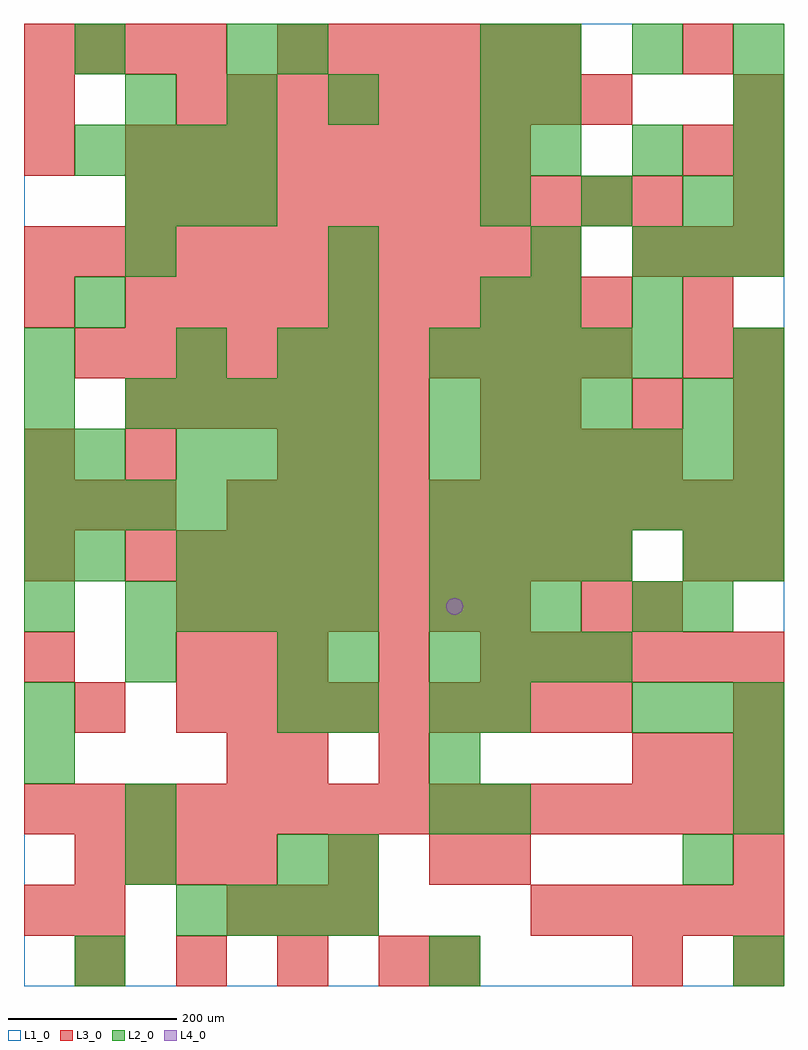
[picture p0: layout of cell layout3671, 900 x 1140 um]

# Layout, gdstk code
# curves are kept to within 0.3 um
import gdstk
lib = gdstk.Library(unit=1e-6, precision=1e-09)
def R(c, l, rs):  # rectangles x0, y0, x1, y1
    for r in rs: c.add(gdstk.rectangle(r[:2], r[2:], *l))
def A(c, l, x, y, w, h, nx, ny, dx, dy):  # array of equal rectangles
    R(c, l, [(x+i*dx, y+j*dy, x+i*dx+w, y+j*dy+h) for i in range(nx) for j in range(ny)])
def P(c, l, *ps):  # polygons
    for p in ps: c.add(gdstk.Polygon(p, *l))
L1_0 = (1, 0)
L2_0 = (2, 0)
L3_0 = (3, 0)
L4_0 = (4, 0)

layout3671 = lib.new_cell('layout3671')
R(layout3671, L1_0, [(0,0,900,1140)])
A(layout3671, L2_0, 180, 60, 60, 60, 4, 2, 60, 420)
A(layout3671, L2_0, 480, 180, 60, 60, 1, 3, 0, 60)
A(layout3671, L2_0, 720, 300, 60, 60, 3, 2, 60, 540)
A(layout3671, L2_0, 300, 360, 60, 60, 1, 3, 0, 360)
A(layout3671, L2_0, 480, 360, 60, 60, 4, 2, 60, 120)
A(layout3671, L2_0, 120, 420, 60, 60, 5, 2, 60, 240)
A(layout3671, L2_0, 480, 420, 60, 60, 3, 1, 60, 0)
A(layout3671, L2_0, 0, 540, 60, 60, 7, 1, 60, 0)
A(layout3671, L2_0, 480, 540, 60, 60, 7, 2, 60, 60)
A(layout3671, L2_0, 0, 600, 60, 60, 1, 3, 0, 60)
A(layout3671, L2_0, 180, 600, 60, 60, 4, 1, 60, 0)
A(layout3671, L2_0, 480, 660, 60, 60, 4, 1, 60, 0)
A(layout3671, L2_0, 480, 720, 60, 60, 5, 1, 60, 0)
A(layout3671, L2_0, 120, 840, 60, 60, 3, 1, 240, 0)
A(layout3671, L2_0, 120, 900, 60, 60, 3, 1, 60, 0)
A(layout3671, L2_0, 540, 900, 60, 60, 3, 1, 120, 0)
A(layout3671, L2_0, 60, 960, 60, 60, 4, 1, 60, 0)
A(layout3671, L2_0, 540, 960, 60, 60, 1, 3, 0, 60)
A(layout3671, L2_0, 600, 960, 60, 60, 3, 2, 120, 120)
A(layout3671, L2_0, 120, 1020, 60, 60, 3, 1, 120, 0)
R(layout3671, L2_0, [(60,0,120,60), (480,0,540,60), (840,0,900,60), (120,120,180,180), (300,120,360,180), (360,120,420,180), (780,120,840,180), (120,180,180,240), (540,180,600,240), (840,180,900,240), (0,240,60,300), (840,240,900,300), (0,300,60,360), (300,300,360,360), (360,300,420,360), (540,300,600,360), (120,360,180,420), (360,360,420,420), (0,420,60,480), (720,420,780,480), (780,420,840,480), (0,480,60,540), (60,480,120,540), (780,480,840,540), (840,480,900,540), (60,600,120,660), (780,660,840,720), (840,660,900,720), (180,720,240,780), (360,720,420,780), (840,720,900,780), (60,780,120,840), (360,780,420,840), (540,780,600,840), (600,780,660,840), (720,780,780,840), (840,900,900,960), (600,1020,660,1080), (840,1020,900,1080), (60,1080,120,1140), (240,1080,300,1140)])
A(layout3671, L3_0, 60, 0, 60, 60, 4, 1, 120, 0)
A(layout3671, L3_0, 240, 60, 60, 60, 3, 1, 60, 0)
A(layout3671, L3_0, 600, 60, 60, 60, 5, 1, 60, 0)
A(layout3671, L3_0, 60, 120, 60, 60, 4, 1, 60, 0)
A(layout3671, L3_0, 840, 120, 60, 60, 1, 3, 0, 180)
A(layout3671, L3_0, 0, 180, 60, 60, 15, 1, 60, 0)
A(layout3671, L3_0, 720, 240, 60, 60, 3, 2, 60, 600)
A(layout3671, L3_0, 180, 300, 60, 60, 9, 2, 60, 720)
A(layout3671, L3_0, 0, 360, 60, 60, 1, 3, 0, 120)
A(layout3671, L3_0, 180, 360, 60, 60, 3, 1, 60, 0)
A(layout3671, L3_0, 540, 360, 60, 60, 6, 1, 60, 0)
A(layout3671, L3_0, 180, 420, 60, 60, 7, 1, 60, 0)
A(layout3671, L3_0, 120, 480, 60, 60, 10, 2, 60, 300)
A(layout3671, L3_0, 0, 540, 60, 60, 3, 1, 60, 0)
A(layout3671, L3_0, 240, 540, 60, 60, 11, 1, 60, 0)
A(layout3671, L3_0, 300, 600, 60, 60, 3, 1, 60, 0)
A(layout3671, L3_0, 540, 600, 60, 60, 4, 1, 60, 0)
A(layout3671, L3_0, 120, 660, 60, 60, 6, 1, 60, 0)
A(layout3671, L3_0, 600, 660, 60, 60, 3, 1, 120, 0)
A(layout3671, L3_0, 60, 720, 60, 60, 11, 1, 60, 0)
A(layout3671, L3_0, 0, 840, 60, 60, 11, 1, 60, 0)
A(layout3671, L3_0, 120, 900, 60, 60, 11, 1, 60, 0)
A(layout3671, L3_0, 840, 900, 60, 60, 1, 3, 0, 60)
A(layout3671, L3_0, 120, 960, 60, 60, 8, 1, 60, 0)
A(layout3671, L3_0, 0, 1080, 60, 60, 4, 1, 60, 0)
A(layout3671, L3_0, 300, 1080, 60, 60, 6, 1, 60, 0)
R(layout3671, L3_0, [(480,0,540,60), (720,0,780,60), (840,0,900,60), (0,60,60,120), (60,60,120,120), (360,120,420,180), (480,120,540,180), (540,120,600,180), (240,240,300,300), (300,240,360,300), (420,240,480,300), (60,300,120,360), (420,360,480,420), (660,420,720,480), (720,420,780,480), (780,480,840,540), (120,600,180,660), (840,600,900,660), (540,660,600,720), (780,720,840,780), (840,720,900,780), (0,780,60,840), (780,780,840,840), (0,960,60,1020), (780,960,840,1020), (0,1020,60,1080), (780,1080,840,1140)])
P(layout3671, L4_0, [(520,450),(519.239,453.827),(517.071,457.071),(513.827,459.239),(510,460),(506.173,459.239),(502.929,457.071),(500.761,453.827),(500,450),(500.761,446.173),(502.929,442.929),(506.173,440.761),(510,440),(513.827,440.761),(517.071,442.929),(519.239,446.173)])

lib.write_gds('layout3671.gds')
